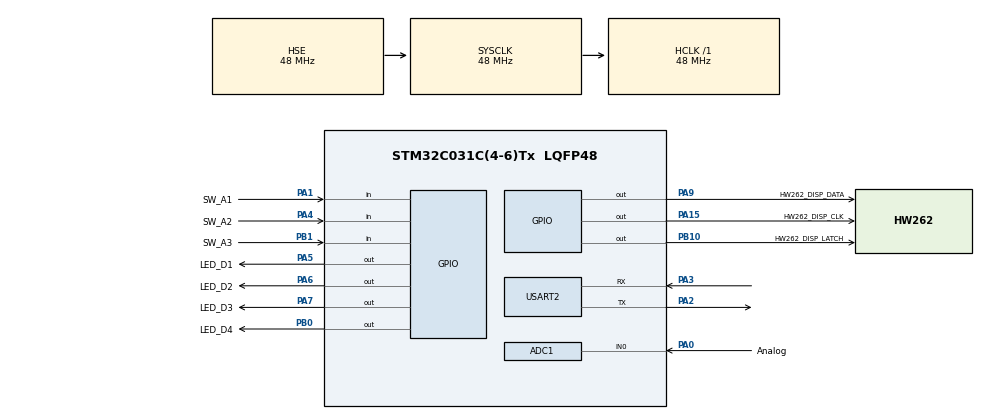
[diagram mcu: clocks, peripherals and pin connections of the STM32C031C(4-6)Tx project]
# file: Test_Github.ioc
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ADC1.NbrOfConversionFlag=0
ADC1.SelectedChannel=ADC_CHANNEL_0
ADC1.master=1
Mcu.Family=STM32C0
Mcu.Name=STM32C031C(4-6)Tx
Mcu.Package=LQFP48
NVIC.TIM3_IRQn=true\:0\:0\:false\:false\:true\:true\:true\:true
PA0.GPIO_Label=Analog
PA0.Mode=IN0
PA0.Signal=ADC1_IN0
PA1.GPIO_Label=SW_A1
PA1.Signal=GPIO_Input
PA13.GPIO_Label=DEBUG_SWDIO
PA13.Signal=DEBUG_SWDIO
PA14-BOOT0.GPIO_Label=DEBUG_SWCLK
PA14-BOOT0.Signal=DEBUG_SWCLK
PA15.GPIO_Label=HW262_DISP_CLK
PA15.Signal=GPIO_Output
PA2.Mode=Asynchronous
PA2.Signal=USART2_TX
PA3.Mode=Asynchronous
PA3.Signal=USART2_RX
PA4.GPIO_Label=SW_A2
PA4.Signal=GPIO_Input
PA5.GPIO_Label=LED_D1
PA5.GPIO_ModeDefaultOutputPP=GPIO_MODE_OUTPUT_OD
PA5.GPIO_PuPd=GPIO_NOPULL
PA5.PinState=GPIO_PIN_SET
PA5.Signal=GPIO_Output
PA6.GPIO_Label=LED_D2
PA6.GPIO_ModeDefaultOutputPP=GPIO_MODE_OUTPUT_OD
PA6.GPIO_PuPd=GPIO_NOPULL
PA6.PinState=GPIO_PIN_SET
PA6.Signal=GPIO_Output
PA7.GPIO_Label=LED_D3
PA7.GPIO_ModeDefaultOutputPP=GPIO_MODE_OUTPUT_OD
PA7.GPIO_PuPd=GPIO_NOPULL
PA7.PinState=GPIO_PIN_SET
PA7.Signal=GPIO_Output
PA9.GPIO_Label=HW262_DISP_DATA
PA9.Signal=GPIO_Output
PB0.GPIO_Label=LED_D4
PB0.GPIO_ModeDefaultOutputPP=GPIO_MODE_OUTPUT_OD
PB0.GPIO_PuPd=GPIO_NOPULL
PB0.PinState=GPIO_PIN_SET
PB0.Signal=GPIO_Output
PB1.GPIO_Label=SW_A3
PB1.Signal=GPIO_Input
PB10.GPIO_Label=HW262_DISP_LATCH
PB10.Signal=GPIO_Output
PC14-OSCX_IN\ (PC14).GPIO_Label=RCC_OSCX_IN
PC14-OSCX_IN\ (PC14).Mode=LSE-External-Oscillator
PC14-OSCX_IN\ (PC14).Signal=RCC_OSCX_IN
PC15-OSCX_OUT\ (PC15).GPIO_Label=RCC_OSCX_OUT
PC15-OSCX_OUT\ (PC15).Mode=LSE-External-Oscillator
PC15-OSCX_OUT\ (PC15).Signal=RCC_OSCX_OUT
PF0-OSC_IN\ (PF0).GPIO_Label=RCC_OSC_IN
PF0-OSC_IN\ (PF0).Mode=HSE-External-Oscillator
PF0-OSC_IN\ (PF0).Signal=RCC_OSC_IN
PF1-OSC_OUT\ (PF1).GPIO_Label=RCC_OSC_OUT
PF1-OSC_OUT\ (PF1).Mode=HSE-External-Oscillator
PF1-OSC_OUT\ (PF1).Signal=RCC_OSC_OUT
ProjectManager.HeapSize=0x200
ProjectManager.StackSize=0x400
ProjectManager.TargetToolchain=CMake
RCC.ADCFreq_Value=48000000
RCC.AHBFreq_Value=48000000
RCC.CortexFreq_Value=48000000
RCC.EXTERNAL_CLOCK_VALUE=12288000
RCC.HCLKFreq_Value=48000000
RCC.HSE_VALUE=48000000
RCC.HSISYSCLKDivider=RCC_HSI_DIV1
RCC.HSI_VALUE=48000000
RCC.SYSCLKFreq_VALUE=48000000
RCC.SYSCLKSource=RCC_SYSCLKSOURCE_HSE
TIM3.Period=1000-1
TIM3.Prescaler=48-1
USART2.VirtualMode-Asynchronous=VM_ASYNC
VP_TIM3_VS_ClockSourceINT.Mode=Internal
board=NUCLEO-C031C6

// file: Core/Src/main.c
/* USER CODE BEGIN Header */
/**
  ******************************************************************************
  * @file           : main.c
  * @brief          : Main program body
  ******************************************************************************
  * @attention
  *
  * Copyright (c) 2026 STMicroelectronics.
  * All rights reserved.
  *
  * This software is licensed under terms that can be found in the LICENSE file
  * in the root directory of this software component.
  * If no LICENSE file comes with this software, it is provided AS-IS.
  *
  ******************************************************************************
  */
/* USER CODE END Header */
#include "main.h"

/* USER CODE BEGIN Includes */
#include "hw262_display.h"
/* USER CODE END Includes */

/* USER CODE BEGIN PTD */
typedef enum
{
  DISPLAY_MESSAGE_BOOT = 0,
  DISPLAY_MESSAGE_ADC,
  DISPLAY_MESSAGE_A1,
  DISPLAY_MESSAGE_A2,
  DISPLAY_MESSAGE_A3,
} DisplayMessage;
/* USER CODE END PTD */

/* USER CODE BEGIN PD */
#define APP_BOOT_MESSAGE_MS 5000u
#define APP_ADC_UPDATE_MS 100u

static HW262_Display display;
/* USER CODE END PD */

ADC_HandleTypeDef hadc1;

TIM_HandleTypeDef htim3;

UART_HandleTypeDef huart2;

void SystemClock_Config(void);
static void MX_GPIO_Init(void);
static void MX_ADC1_Init(void);
static void MX_USART2_UART_Init(void);
static void MX_TIM3_Init(void);

/* USER CODE BEGIN 0 */
static GPIO_PinState SwitchPressed(GPIO_TypeDef *port, uint16_t pin)
{
  return HAL_GPIO_ReadPin(port, pin) == GPIO_PIN_RESET;
}

static uint16_t ReadAdcA0(void)
{
  uint16_t value = 0u;

  if (HAL_ADC_Start(&hadc1) == HAL_OK)
  {
    if (HAL_ADC_PollForConversion(&hadc1, 2u) == HAL_OK)
    {
      value = (uint16_t)HAL_ADC_GetValue(&hadc1);
    }
    HAL_ADC_Stop(&hadc1);
  }

  return value;
}

static uint16_t UpdateAdcValue(void)
{
  static uint32_t previous_tick = 0u;
  static uint16_t adc_value = 0u;
  const uint32_t current_tick = HAL_GetTick();

  if ((current_tick - previous_tick) >= APP_ADC_UPDATE_MS)
  {
    previous_tick = current_tick;
    adc_value = ReadAdcA0();
  }

  return adc_value;
}

static void UpdateSwitchDisplay(void)
{
  static DisplayMessage shown_message = DISPLAY_MESSAGE_BOOT;
  static uint16_t shown_adc_value = 0xffffu;
  DisplayMessage requested_message = DISPLAY_MESSAGE_BOOT;
  uint16_t requested_adc_value = shown_adc_value;

  if (SwitchPressed(SW_A1_GPIO_Port, SW_A1_Pin))
  {
    requested_message = DISPLAY_MESSAGE_A1;
  }
  else if (SwitchPressed(SW_A2_GPIO_Port, SW_A2_Pin))
  {
    requested_message = DISPLAY_MESSAGE_A2;
  }
  else if (SwitchPressed(SW_A3_GPIO_Port, SW_A3_Pin))
  {
    requested_message = DISPLAY_MESSAGE_A3;
  }
  else if (HAL_GetTick() >= APP_BOOT_MESSAGE_MS)
  {
    requested_message = DISPLAY_MESSAGE_ADC;
    requested_adc_value = UpdateAdcValue();
  }

  if ((requested_message == shown_message) &&
      ((requested_message != DISPLAY_MESSAGE_ADC) || (requested_adc_value == shown_adc_value)))
  {
    return;
  }

  shown_message = requested_message;
  shown_adc_value = requested_adc_value;
  switch (shown_message)
  {
  case DISPLAY_MESSAGE_ADC:
    HW262_Display_WriteUInt(&display, shown_adc_value, false);
    break;
  case DISPLAY_MESSAGE_A1:
    HW262_Display_WriteText(&display, "A1");
    break;
  case DISPLAY_MESSAGE_A2:
    HW262_Display_WriteText(&display, "A2");
    break;
  case DISPLAY_MESSAGE_A3:
    HW262_Display_WriteText(&display, "A3");
    break;
  case DISPLAY_MESSAGE_BOOT:
  default:
    HW262_Display_WriteText(&display, "C031");
    break;
  }
}

static void UpdateLedSequence(void)
{
  static uint32_t previous_tick = 0;
  static uint8_t led_index = 0;
  const uint32_t current_tick = HAL_GetTick();

  if ((current_tick - previous_tick) < 250u)
  {
    return;
  }

  previous_tick = current_tick;
  switch (led_index)
  {
  case 0:
    HAL_GPIO_TogglePin(LED_D1_GPIO_Port, LED_D1_Pin);
    break;
  case 1:
    HAL_GPIO_TogglePin(LED_D2_GPIO_Port, LED_D2_Pin);
    break;
  case 2:
    HAL_GPIO_TogglePin(LED_D3_GPIO_Port, LED_D3_Pin);
    break;
  case 3:
  default:
    HAL_GPIO_TogglePin(LED_D4_GPIO_Port, LED_D4_Pin);
    break;
  }

  led_index = (uint8_t)((led_index + 1u) % 4u);
}
/* USER CODE END 0 */

int main(void)
{

  /* MCU Configuration--------------------------------------------------------*/

  /* Reset of all peripherals, Initializes the Flash interface and the Systick. */
  HAL_Init();

  /* Configure the system clock */
  SystemClock_Config();

  /* Initialize all configured peripherals */
  MX_GPIO_Init();
  MX_ADC1_Init();
  MX_USART2_UART_Init();
  MX_TIM3_Init();
  /* USER CODE BEGIN 2 */
  HW262_Display_Init(&display,
    HW262_DISP_DATA_GPIO_Port, HW262_DISP_DATA_Pin,
    HW262_DISP_CLK_GPIO_Port, HW262_DISP_CLK_Pin,
    HW262_DISP_LATCH_GPIO_Port, HW262_DISP_LATCH_Pin);
  HW262_Display_WriteText(&display, "C031");
  HAL_TIM_Base_Start_IT(&htim3);
  /* USER CODE END 2 */

  /* Infinite loop */
  /* USER CODE BEGIN WHILE */
  while (1)
  {
    UpdateSwitchDisplay();
    UpdateLedSequence();
    /* USER CODE END WHILE */

  }
}

void SystemClock_Config(void)
{
  RCC_OscInitTypeDef RCC_OscInitStruct = {0};
  RCC_ClkInitTypeDef RCC_ClkInitStruct = {0};

  __HAL_FLASH_SET_LATENCY(FLASH_LATENCY_1);

  /** Initializes the RCC Oscillators according to the specified parameters
  * in the RCC_OscInitTypeDef structure.
  */
  RCC_OscInitStruct.OscillatorType = RCC_OSCILLATORTYPE_HSE;
  RCC_OscInitStruct.HSEState = RCC_HSE_ON;
  if (HAL_RCC_OscConfig(&RCC_OscInitStruct) != HAL_OK)
  {
    Error_Handler();
  }

  /** Initializes the CPU, AHB and APB buses clocks
  */
  RCC_ClkInitStruct.ClockType = RCC_CLOCKTYPE_HCLK|RCC_CLOCKTYPE_SYSCLK
                              |RCC_CLOCKTYPE_PCLK1;
  RCC_ClkInitStruct.SYSCLKSource = RCC_SYSCLKSOURCE_HSE;
  RCC_ClkInitStruct.SYSCLKDivider = RCC_SYSCLK_DIV1;
  RCC_ClkInitStruct.AHBCLKDivider = RCC_HCLK_DIV1;
  RCC_ClkInitStruct.APB1CLKDivider = RCC_APB1_DIV1;

  if (HAL_RCC_ClockConfig(&RCC_ClkInitStruct, FLASH_LATENCY_1) != HAL_OK)
  {
    Error_Handler();
  }
}

static void MX_ADC1_Init(void)
{

  ADC_ChannelConfTypeDef sConfig = {0};

  /** Configure the global features of the ADC (Clock, Resolution, Data Alignment and number of conversion)
  */
  hadc1.Instance = ADC1;
  hadc1.Init.ClockPrescaler = ADC_CLOCK_SYNC_PCLK_DIV2;
  hadc1.Init.Resolution = ADC_RESOLUTION_12B;
  hadc1.Init.DataAlign = ADC_DATAALIGN_RIGHT;
  hadc1.Init.ScanConvMode = ADC_SCAN_SEQ_FIXED;
  hadc1.Init.EOCSelection = ADC_EOC_SINGLE_CONV;
  hadc1.Init.LowPowerAutoWait = DISABLE;
  hadc1.Init.LowPowerAutoPowerOff = DISABLE;
  hadc1.Init.ContinuousConvMode = DISABLE;
  hadc1.Init.NbrOfConversion = 1;
  hadc1.Init.DiscontinuousConvMode = DISABLE;
  hadc1.Init.ExternalTrigConv = ADC_SOFTWARE_START;
  hadc1.Init.ExternalTrigConvEdge = ADC_EXTERNALTRIGCONVEDGE_NONE;
  hadc1.Init.DMAContinuousRequests = DISABLE;
  hadc1.Init.Overrun = ADC_OVR_DATA_PRESERVED;
  hadc1.Init.SamplingTimeCommon1 = ADC_SAMPLETIME_1CYCLE_5;
  hadc1.Init.OversamplingMode = DISABLE;
  hadc1.Init.TriggerFrequencyMode = ADC_TRIGGER_FREQ_HIGH;
  if (HAL_ADC_Init(&hadc1) != HAL_OK)
  {
    Error_Handler();
  }

  /** Configure Regular Channel
  */
  sConfig.Channel = ADC_CHANNEL_0;
  sConfig.Rank = ADC_RANK_CHANNEL_NUMBER;
  if (HAL_ADC_ConfigChannel(&hadc1, &sConfig) != HAL_OK)
  {
    Error_Handler();
  }

}

static void MX_TIM3_Init(void)
{

  TIM_ClockConfigTypeDef sClockSourceConfig = {0};
  TIM_MasterConfigTypeDef sMasterConfig = {0};

  htim3.Instance = TIM3;
  htim3.Init.Prescaler = 48-1;
  htim3.Init.CounterMode = TIM_COUNTERMODE_UP;
  htim3.Init.Period = 1000-1;
  htim3.Init.ClockDivision = TIM_CLOCKDIVISION_DIV1;
  htim3.Init.AutoReloadPreload = TIM_AUTORELOAD_PRELOAD_DISABLE;
  if (HAL_TIM_Base_Init(&htim3) != HAL_OK)
  {
    Error_Handler();
  }
  sClockSourceConfig.ClockSource = TIM_CLOCKSOURCE_INTERNAL;
  if (HAL_TIM_ConfigClockSource(&htim3, &sClockSourceConfig) != HAL_OK)
  {
    Error_Handler();
  }
  sMasterConfig.MasterOutputTrigger = TIM_TRGO_RESET;
  sMasterConfig.MasterSlaveMode = TIM_MASTERSLAVEMODE_DISABLE;
  if (HAL_TIMEx_MasterConfigSynchronization(&htim3, &sMasterConfig) != HAL_OK)
  {
    Error_Handler();
  }

}

static void MX_USART2_UART_Init(void)
{

  huart2.Instance = USART2;
  huart2.Init.BaudRate = 115200;
  huart2.Init.WordLength = UART_WORDLENGTH_8B;
  huart2.Init.StopBits = UART_STOPBITS_1;
  huart2.Init.Parity = UART_PARITY_NONE;
  huart2.Init.Mode = UART_MODE_TX_RX;
  huart2.Init.HwFlowCtl = UART_HWCONTROL_NONE;
  huart2.Init.OverSampling = UART_OVERSAMPLING_16;
  huart2.Init.OneBitSampling = UART_ONE_BIT_SAMPLE_DISABLE;
  huart2.Init.ClockPrescaler = UART_PRESCALER_DIV1;
  huart2.AdvancedInit.AdvFeatureInit = UART_ADVFEATURE_NO_INIT;
  if (HAL_UART_Init(&huart2) != HAL_OK)
  {
    Error_Handler();
  }

}

static void MX_GPIO_Init(void)
{
  GPIO_InitTypeDef GPIO_InitStruct = {0};

  /* GPIO Ports Clock Enable */
  __HAL_RCC_GPIOC_CLK_ENABLE();
  __HAL_RCC_GPIOF_CLK_ENABLE();
  __HAL_RCC_GPIOA_CLK_ENABLE();
  __HAL_RCC_GPIOB_CLK_ENABLE();

  /*Configure GPIO pin Output Level */
  HAL_GPIO_WritePin(GPIOA, LED_D1_Pin|LED_D2_Pin|LED_D3_Pin, GPIO_PIN_SET);

  /*Configure GPIO pin Output Level */
  HAL_GPIO_WritePin(LED_D4_GPIO_Port, LED_D4_Pin, GPIO_PIN_SET);

  /*Configure GPIO pin Output Level */
  HAL_GPIO_WritePin(HW262_DISP_LATCH_GPIO_Port, HW262_DISP_LATCH_Pin, GPIO_PIN_RESET);

  /*Configure GPIO pin Output Level */
  HAL_GPIO_WritePin(GPIOA, HW262_DISP_DATA_Pin|HW262_DISP_CLK_Pin, GPIO_PIN_RESET);

  /*Configure GPIO pins : SW_A1_Pin SW_A2_Pin */
  GPIO_InitStruct.Pin = SW_A1_Pin|SW_A2_Pin;
  GPIO_InitStruct.Mode = GPIO_MODE_INPUT;
  GPIO_InitStruct.Pull = GPIO_PULLUP;
  HAL_GPIO_Init(GPIOA, &GPIO_InitStruct);

  /*Configure GPIO pins : LED_D1_Pin LED_D2_Pin LED_D3_Pin */
  GPIO_InitStruct.Pin = LED_D1_Pin|LED_D2_Pin|LED_D3_Pin;
  GPIO_InitStruct.Mode = GPIO_MODE_OUTPUT_OD;
  GPIO_InitStruct.Pull = GPIO_NOPULL;
  GPIO_InitStruct.Speed = GPIO_SPEED_FREQ_LOW;
  HAL_GPIO_Init(GPIOA, &GPIO_InitStruct);

  /*Configure GPIO pin : LED_D4_Pin */
  GPIO_InitStruct.Pin = LED_D4_Pin;
  GPIO_InitStruct.Mode = GPIO_MODE_OUTPUT_OD;
  GPIO_InitStruct.Pull = GPIO_NOPULL;
  GPIO_InitStruct.Speed = GPIO_SPEED_FREQ_LOW;
  HAL_GPIO_Init(LED_D4_GPIO_Port, &GPIO_InitStruct);

  /*Configure GPIO pin : SW_A3_Pin */
  GPIO_InitStruct.Pin = SW_A3_Pin;
  GPIO_InitStruct.Mode = GPIO_MODE_INPUT;
  GPIO_InitStruct.Pull = GPIO_PULLUP;
  HAL_GPIO_Init(SW_A3_GPIO_Port, &GPIO_InitStruct);

  /*Configure GPIO pin : HW262_DISP_LATCH_Pin */
  GPIO_InitStruct.Pin = HW262_DISP_LATCH_Pin;
  GPIO_InitStruct.Mode = GPIO_MODE_OUTPUT_PP;
  GPIO_InitStruct.Pull = GPIO_NOPULL;
  GPIO_InitStruct.Speed = GPIO_SPEED_FREQ_LOW;
  HAL_GPIO_Init(HW262_DISP_LATCH_GPIO_Port, &GPIO_InitStruct);

  /*Configure GPIO pins : HW262_DISP_DATA_Pin HW262_DISP_CLK_Pin */
  GPIO_InitStruct.Pin = HW262_DISP_DATA_Pin|HW262_DISP_CLK_Pin;
  GPIO_InitStruct.Mode = GPIO_MODE_OUTPUT_PP;
  GPIO_InitStruct.Pull = GPIO_NOPULL;
  GPIO_InitStruct.Speed = GPIO_SPEED_FREQ_LOW;
  HAL_GPIO_Init(GPIOA, &GPIO_InitStruct);

}

/* USER CODE BEGIN 4 */
void HAL_TIM_PeriodElapsedCallback(TIM_HandleTypeDef *htim)
{
    if (htim->Instance == TIM3)
    {
        // Körs var 1 ms
        HW262_Display_Refresh(&display);
    }
}

/* USER CODE END 4 */

void Error_Handler(void)
{
  __disable_irq();
  while (1)
  {
  }
}
